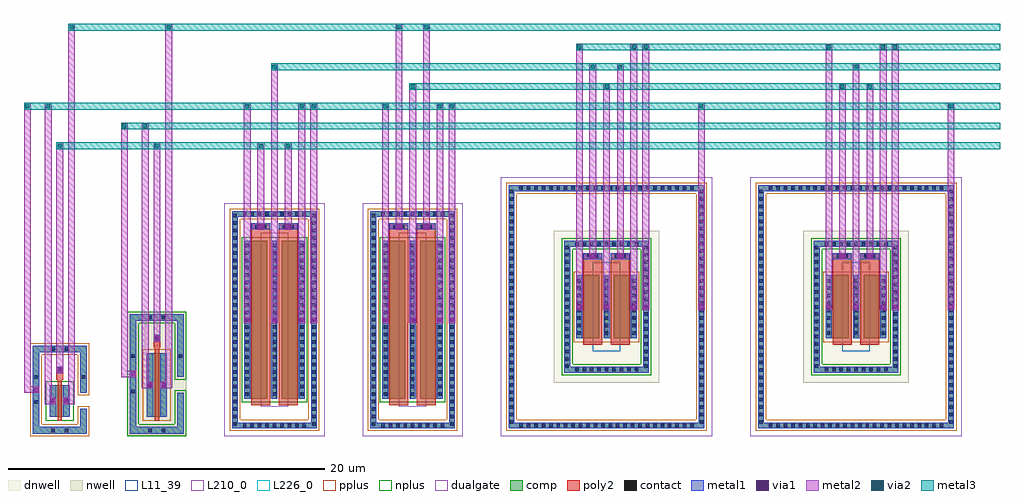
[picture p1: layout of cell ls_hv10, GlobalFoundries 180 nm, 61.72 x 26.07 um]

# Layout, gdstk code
import gdstk
lib = gdstk.Library(unit=1e-6, precision=1e-09)
def R(c, l, rs):  # rectangles x0, y0, x1, y1
    for r in rs: c.add(gdstk.rectangle(r[:2], r[2:], *l))
def A(c, l, x, y, w, h, nx, ny, dx, dy):  # array of equal rectangles
    R(c, l, [(x+i*dx, y+j*dy, x+i*dx+w, y+j*dy+h) for i in range(nx) for j in range(ny)])
def P(c, l, *ps):  # polygons
    for p in ps: c.add(gdstk.Polygon(p, *l))
L11_39 = (11, 39)
dnwell = (12, 0)
nwell = (21, 0)
comp = (22, 0)
poly2 = (30, 0)
pplus = (31, 0)
nplus = (32, 0)
contact = (33, 0)
metal1 = (34, 0)
via1 = (35, 0)
metal2 = (36, 0)
via2 = (38, 0)
metal3 = (42, 0)
dualgate = (55, 0)
L210_0 = (210, 0)
L226_0 = (226, 0)

ldp8 = lib.new_cell('ldp8')
R(ldp8, L11_39, [(-0.87,-2.8,0.87,2.8)])
R(ldp8, dnwell, [(-3.33,-4.82,3.33,4.82)])
R(ldp8, comp, [(-1.91,-2,-0.47,2), (-0.11,-2,0.11,2), (0.47,-2,1.91,2)])
P(ldp8, comp, [(-2.67,-4.16),(-2.67,3.8),(-2.31,3.8),(-2.31,-3.8),(2.31,-3.8),(2.31,3.8),(-2.67,3.8),(-2.67,4.16),(2.67,4.16),(2.67,-4.16)],
  [(-6.19,-7.68),(-6.19,7.32),(-5.83,7.32),(-5.83,-7.32),(5.83,-7.32),(5.83,7.32),(-6.19,7.32),(-6.19,7.68),(6.19,7.68),(6.19,-7.68)])
R(ldp8, poly2, [(-1.47,-2.4,-0.27,3.4), (0.27,-2.4,1.47,3.4)])
R(ldp8, pplus, [(-2.07,-2.23,2.07,2.23)])
P(ldp8, pplus, [(-6.35,-7.84),(-6.35,7.16),(-5.67,7.16),(-5.67,-7.16),(5.67,-7.16),(5.67,7.16),(-6.35,7.16),(-6.35,7.84),(6.35,7.84),(6.35,-7.84)])
P(ldp8, nplus, [(-2.83,-4.32),(-2.83,3.64),(-2.15,3.64),(-2.15,-3.64),(2.15,-3.64),(2.15,3.64),(-2.83,3.64),(-2.83,4.32),(2.83,4.32),(2.83,-4.32)])
A(ldp8, contact, -5.515, -7.61, 0.22, 0.22, 24, 2, 0.47, 15)
A(ldp8, contact, -6.12, -7.395, 0.22, 0.22, 1, 32, 0, 0.47)
A(ldp8, contact, 5.9, -7.395, 0.22, 0.22, 1, 32, 0, 0.47)
A(ldp8, contact, -1.99, -4.09, 0.22, 0.22, 9, 2, 0.47, 7.96)
A(ldp8, contact, -2.6, -3.87, 0.22, 0.22, 1, 17, 0, 0.47)
A(ldp8, contact, 2.38, -3.87, 0.22, 0.22, 1, 17, 0, 0.47)
A(ldp8, contact, -1.84, -1.755, 0.22, 0.22, 3, 8, 1.73, 0.47)
R(ldp8, contact, [(-1.215,3.1,-0.995,3.32), (-0.745,3.1,-0.525,3.32), (0.525,3.1,0.745,3.32), (0.995,3.1,1.215,3.32)])
A(ldp8, metal1, -1.91, -2, 0.38, 4, 3, 1, 1.72, 0)
R(ldp8, metal1, [(-1.47,3.02,-0.27,3.4), (0.27,3.02,1.47,3.4)])
P(ldp8, metal1, [(-2.67,-4.16),(-2.67,3.8),(-2.31,3.8),(-2.31,-3.8),(2.31,-3.8),(2.31,3.8),(-2.67,3.8),(-2.67,4.16),(2.67,4.16),(2.67,-4.16)],
  [(-6.19,-7.68),(-6.19,7.32),(-5.83,7.32),(-5.83,-7.32),(5.83,-7.32),(5.83,7.32),(-6.19,7.32),(-6.19,7.68),(6.19,7.68),(6.19,-7.68)])
R(ldp8, dualgate, [(-6.69,-8.18,6.69,8.18)])
R(ldp8, L226_0, [(-6.69,-8.18,6.69,8.18)])

ldn20 = lib.new_cell('ldn20')
R(ldn20, comp, [(-1.91,-5,-0.47,5), (-0.11,-5,0.11,5), (0.47,-5,1.91,5)])
P(ldn20, comp, [(-2.67,-6.86),(-2.67,6.5),(-2.31,6.5),(-2.31,-6.5),(2.31,-6.5),(2.31,6.5),(-2.67,6.5),(-2.67,6.86),(2.67,6.86),(2.67,-6.86)])
R(ldn20, poly2, [(-1.47,-5.4,-0.27,6.1), (0.27,-5.4,1.47,6.1)])
P(ldn20, pplus, [(-2.83,-7.02),(-2.83,6.34),(-2.15,6.34),(-2.15,-6.34),(2.15,-6.34),(2.15,6.34),(-2.83,6.34),(-2.83,7.02),(2.83,7.02),(2.83,-7.02)])
R(ldn20, nplus, [(-2.07,-5.23,2.07,5.23)])
A(ldn20, contact, -1.99, -6.79, 0.22, 0.22, 9, 2, 0.47, 13.36)
A(ldn20, contact, -2.6, -6.69, 0.22, 0.22, 1, 29, 0, 0.47)
A(ldn20, contact, 2.38, -6.69, 0.22, 0.22, 1, 29, 0, 0.47)
A(ldn20, contact, -1.84, -4.81, 0.22, 0.22, 3, 21, 1.73, 0.47)
R(ldn20, contact, [(-1.215,5.8,-0.995,6.02), (-0.745,5.8,-0.525,6.02), (0.525,5.8,0.745,6.02), (0.995,5.8,1.215,6.02)])
A(ldn20, metal1, -1.91, -5, 0.38, 10, 3, 1, 1.72, 0)
R(ldn20, metal1, [(-1.47,5.72,-0.27,6.1), (0.27,5.72,1.47,6.1)])
P(ldn20, metal1, [(-2.67,-6.86),(-2.67,6.5),(-2.31,6.5),(-2.31,-6.5),(2.31,-6.5),(2.31,6.5),(-2.67,6.5),(-2.67,6.86),(2.67,6.86),(2.67,-6.86)])
R(ldn20, dualgate, [(-3.17,-7.36,3.17,7.36)])
R(ldn20, L210_0, [(-0.87,-5.5,0.87,5.5)])
R(ldn20, L226_0, [(-3.17,-7.36,3.17,7.36)])

p33_1 = lib.new_cell('p33$1')
R(p33_1, nwell, [(-1.22,-1.22,2.5,6.64), (-0.15,-0.15,1.43,5.57)])
R(p33_1, comp, [(0,0,1.28,4)])
P(p33_1, comp, [(-1.07,-1.07),(-1.07,6.49),(2.35,6.49),(2.35,2.51),(1.93,2.51),(1.93,6.07),(-0.65,6.07),(-0.65,-0.65),(1.93,-0.65),(1.93,1.51),(2.35,1.51),(2.35,-1.07)])
R(p33_1, poly2, [(0.5,-0.25,0.78,4), (0.5,4,0.78,4.35), (0.43,4.35,0.85,5.17)])
R(p33_1, pplus, [(-0.25,-0.25,1.53,4.25)])
P(p33_1, nplus, [(-1.23,-1.23),(-1.23,6.65),(2.51,6.65),(2.51,2.35),(1.77,2.35),(1.77,5.91),(-0.49,5.91),(-0.49,-0.49),(1.77,-0.49),(1.77,1.67),(2.51,1.67),(2.51,-1.23)])
R(p33_1, contact, [(0.1,-0.97,0.32,-0.75), (0.96,-0.97,1.18,-0.75), (-0.97,1.48,-0.75,1.7), (0.1,1.89,0.32,2.11), (0.96,1.89,1.18,2.11), (-0.97,3.72,-0.75,3.94), (2.03,3.72,2.25,3.94), (0.53,4.85,0.75,5.07), (0.1,6.17,0.32,6.39), (0.96,6.17,1.18,6.39)])
R(p33_1, metal1, [(0,0,0.42,4), (0.86,0,1.28,4), (0.43,4.75,0.85,5.17)])
P(p33_1, metal1, [(-1.07,-1.07),(-1.07,6.49),(2.35,6.49),(2.35,2.51),(1.93,2.51),(1.93,6.07),(-0.65,6.07),(-0.65,-0.65),(1.93,-0.65),(1.93,1.51),(2.35,1.51),(2.35,-1.07)])

n33_1 = lib.new_cell('n33$1')
R(n33_1, comp, [(0,0,1.28,2)])
P(n33_1, comp, [(-1.07,-1.07),(-1.07,4.49),(2.35,4.49),(2.35,1.51),(1.93,1.51),(1.93,4.07),(-0.65,4.07),(-0.65,-0.65),(1.93,-0.65),(1.93,0.51),(2.35,0.51),(2.35,-1.07)])
R(n33_1, poly2, [(0.5,-0.25,0.78,2), (0.5,2,0.78,2.35), (0.43,2.35,0.85,3.17)])
P(n33_1, pplus, [(-1.23,-1.23),(-1.23,4.65),(2.51,4.65),(2.51,1.35),(1.77,1.35),(1.77,3.91),(-0.49,3.91),(-0.49,-0.49),(1.77,-0.49),(1.77,0.67),(2.51,0.67),(2.51,-1.23)])
R(n33_1, nplus, [(-0.25,-0.25,1.53,2.25)])
R(n33_1, contact, [(0.1,-0.97,0.32,-0.75), (0.96,-0.97,1.18,-0.75), (-0.97,0.815,-0.75,1.035), (0.1,0.89,0.32,1.11), (0.96,0.89,1.18,1.11), (-0.97,2.385,-0.75,2.605), (2.03,2.385,2.25,2.605), (0.53,2.85,0.75,3.07), (0.1,4.17,0.32,4.39), (0.96,4.17,1.18,4.39)])
R(n33_1, metal1, [(0,0,0.42,2), (0.86,0,1.28,2), (0.43,2.75,0.85,3.17)])
P(n33_1, metal1, [(-1.07,-1.07),(-1.07,4.49),(2.35,4.49),(2.35,1.51),(1.93,1.51),(1.93,4.07),(-0.65,4.07),(-0.65,-0.65),(1.93,-0.65),(1.93,0.51),(2.35,0.51),(2.35,-1.07)])

ls_hv10 = lib.new_cell('ls_hv10')
A(ls_hv10, via1, 14.8, 8.23, 0.26, 0.26, 3, 1, 1.72, 0)
A(ls_hv10, via1, 23.54, 8.23, 0.26, 0.26, 3, 1, 1.72, 0)
A(ls_hv10, via1, 35.8, 9.05, 0.26, 0.26, 3, 1, 1.72, 0)
A(ls_hv10, via1, 51.58, 9.05, 0.26, 0.26, 3, 1, 1.72, 0)
R(ls_hv10, via1, [(2.51,3.1,2.77,3.36), (3.37,3.1,3.63,3.36), (1.44,3.81,1.7,4.07), (8.65,4.1,8.91,4.36), (9.51,4.1,9.77,4.36), (7.58,4.81,7.84,5.07), (2.94,5.06,3.2,5.32), (9.08,7.06,9.34,7.32), (19,8.23,19.26,8.49), (27.74,8.23,28,8.49), (40,9.05,40.26,9.31), (43.52,9.05,43.78,9.31), (55.78,9.05,56.04,9.31), (59.3,9.05,59.56,9.31), (36.65,12.26,36.91,12.52), (38.39,12.26,38.65,12.52), (52.43,12.26,52.69,12.52), (54.17,12.26,54.43,12.52), (15.65,14.14,15.91,14.4), (17.39,14.14,17.65,14.4), (24.39,14.14,24.65,14.4), (26.13,14.14,26.39,14.4)])
R(ls_hv10, metal2, [(2.13,3.02,2.55,22.07), (2.13,3.02,2.85,3.44), (2.43,3.02,2.85,3.44), (3.29,3.02,3.71,3.44), (3.29,3.02,4.03,3.44), (3.61,3.02,4.03,27.07), (0.81,3.73,1.23,22.07), (0.81,3.73,1.78,4.15), (1.36,3.73,1.78,4.15), (8.27,4.02,8.69,20.82), (8.27,4.02,8.99,4.44), (8.57,4.02,8.99,4.44), (9.43,4.02,9.85,4.44), (9.43,4.02,10.17,4.44), (9.75,4.02,10.17,27.07), (6.95,4.73,7.37,20.82), (6.95,4.73,7.92,5.15), (7.5,4.73,7.92,5.15), (2.86,4.98,3.28,19.57), (2.86,4.98,3.28,5.4), (2.86,4.98,3.28,5.4), (9,6.98,9.42,19.57), (9,6.98,9.42,7.4), (9,6.98,9.42,7.4), (14.72,8.15,15.14,22.07), (14.72,8.15,15.14,8.57), (14.72,8.15,15.14,8.57), (16.44,8.15,16.86,24.57), (16.44,8.15,16.86,8.57), (16.44,8.15,16.86,8.57), (18.16,8.15,18.58,22.07), (18.16,8.15,18.58,8.57), (18.16,8.15,18.58,8.57), (18.92,8.15,19.34,22.07), (18.92,8.15,19.34,8.57), (18.92,8.15,19.34,8.57), (23.46,8.15,23.88,22.07), (23.46,8.15,23.88,8.57), (23.46,8.15,23.88,8.57), (25.18,8.15,25.6,23.32), (25.18,8.15,25.6,8.57), (25.18,8.15,25.6,8.57), (26.9,8.15,27.32,22.07), (26.9,8.15,27.32,8.57), (26.9,8.15,27.32,8.57), (27.66,8.15,28.08,22.07), (27.66,8.15,28.08,8.57), (27.66,8.15,28.08,8.57), (35.72,8.97,36.14,25.82), (35.72,8.97,36.14,9.39), (35.72,8.97,36.14,9.39), (37.44,8.97,37.86,23.32), (37.44,8.97,37.86,9.39), (37.44,8.97,37.86,9.39), (39.16,8.97,39.58,25.82), (39.16,8.97,39.58,9.39), (39.16,8.97,39.58,9.39), (39.92,8.97,40.34,25.82), (39.92,8.97,40.34,9.39), (39.92,8.97,40.34,9.39), (43.44,8.97,43.86,22.07), (43.44,8.97,43.86,9.39), (43.44,8.97,43.86,9.39), (51.5,8.97,51.92,25.82), (51.5,8.97,51.92,9.39), (51.5,8.97,51.92,9.39), (53.22,8.97,53.64,24.57), (53.22,8.97,53.64,9.39), (53.22,8.97,53.64,9.39), (54.94,8.97,55.36,25.82), (54.94,8.97,55.36,9.39), (54.94,8.97,55.36,9.39), (55.7,8.97,56.12,25.82), (55.7,8.97,56.12,9.39), (55.7,8.97,56.12,9.39), (59.22,8.97,59.64,22.07), (59.22,8.97,59.64,9.39), (59.22,8.97,59.64,9.39), (36.57,12.18,36.99,24.57), (36.57,12.18,36.99,12.6), (36.57,12.18,36.99,12.6), (38.31,12.18,38.73,24.57), (38.31,12.18,38.73,12.6), (38.31,12.18,38.73,12.6), (52.35,12.18,52.77,23.32), (52.35,12.18,52.77,12.6), (52.35,12.18,52.77,12.6), (54.09,12.18,54.51,23.32), (54.09,12.18,54.51,12.6), (54.09,12.18,54.51,12.6), (15.57,14.06,15.99,19.57), (15.57,14.06,15.99,14.48), (15.57,14.06,15.99,14.48), (17.31,14.06,17.73,19.57), (17.31,14.06,17.73,14.48), (17.31,14.06,17.73,14.48), (24.31,14.06,24.73,27.07), (24.31,14.06,24.73,14.48), (24.31,14.06,24.73,14.48), (26.05,14.06,26.47,27.07), (26.05,14.06,26.47,14.48), (26.05,14.06,26.47,14.48)])
A(ls_hv10, via2, 27.74, 21.73, 0.26, 0.26, 3, 1, 15.78, 0)
R(ls_hv10, via2, [(2.94,19.23,3.2,19.49), (9.08,19.23,9.34,19.49), (15.65,19.23,15.91,19.49), (17.39,19.23,17.65,19.49), (7.03,20.48,7.29,20.74), (8.35,20.48,8.61,20.74), (0.89,21.73,1.15,21.99), (2.21,21.73,2.47,21.99), (14.8,21.73,15.06,21.99), (18.24,21.73,18.5,21.99), (19,21.73,19.26,21.99), (23.54,21.73,23.8,21.99), (26.98,21.73,27.24,21.99), (25.26,22.98,25.52,23.24), (37.52,22.98,37.78,23.24), (52.43,22.98,52.69,23.24), (54.17,22.98,54.43,23.24), (16.52,24.23,16.78,24.49), (36.65,24.23,36.91,24.49), (38.39,24.23,38.65,24.49), (53.3,24.23,53.56,24.49), (35.8,25.48,36.06,25.74), (39.24,25.48,39.5,25.74), (40,25.48,40.26,25.74), (51.58,25.48,51.84,25.74), (55.02,25.48,55.28,25.74), (55.78,25.48,56.04,25.74), (3.69,26.73,3.95,26.99), (9.83,26.73,10.09,26.99), (24.39,26.73,24.65,26.99), (26.13,26.73,26.39,26.99)])
A(ls_hv10, metal3, 27.66, 21.65, 0.42, 0.42, 3, 1, 15.78, 0)
R(ls_hv10, metal3, [(2.86,19.15,3.28,19.57), (2.86,19.15,62.53,19.57), (9,19.15,9.42,19.57), (15.57,19.15,15.99,19.57), (17.31,19.15,17.73,19.57), (6.95,20.4,7.37,20.82), (6.95,20.4,62.53,20.82), (8.27,20.4,8.69,20.82), (0.81,21.65,1.23,22.07), (0.81,21.65,62.53,22.07), (2.13,21.65,2.55,22.07), (14.72,21.65,15.14,22.07), (18.16,21.65,18.58,22.07), (18.92,21.65,19.34,22.07), (23.46,21.65,23.88,22.07), (26.9,21.65,27.32,22.07), (25.18,22.9,25.6,23.32), (25.18,22.9,62.53,23.32), (37.44,22.9,37.86,23.32), (52.35,22.9,52.77,23.32), (54.09,22.9,54.51,23.32), (16.44,24.15,16.86,24.57), (16.44,24.15,62.53,24.57), (36.57,24.15,36.99,24.57), (38.31,24.15,38.73,24.57), (53.22,24.15,53.64,24.57), (35.72,25.4,36.14,25.82), (35.72,25.4,62.53,25.82), (39.16,25.4,39.58,25.82), (39.92,25.4,40.34,25.82), (51.5,25.4,51.92,25.82), (54.94,25.4,55.36,25.82), (55.7,25.4,56.12,25.82), (3.61,26.65,4.03,27.07), (3.61,26.65,62.53,27.07), (9.75,26.65,10.17,27.07), (24.31,26.65,24.73,27.07), (26.05,26.65,26.47,27.07)])
ls_hv10.add(gdstk.Reference(ldp8, (37.65,9.18)))
ls_hv10.add(gdstk.Reference(ldp8, (53.43,9.18)))
ls_hv10.add(gdstk.Reference(ldn20, (16.65,8.36)))
ls_hv10.add(gdstk.Reference(ldn20, (25.39,8.36)))
ls_hv10.add(gdstk.Reference(p33_1, (8.57,2.23)))
ls_hv10.add(gdstk.Reference(n33_1, (2.43,2.23)))

lib.write_gds('ls_hv10.gds')
